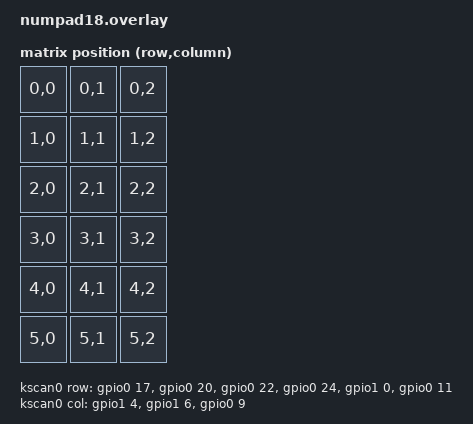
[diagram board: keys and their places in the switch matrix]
#include <dt-bindings/zmk/matrix_transform.h>
#include "numpad18-layouts.dtsi"

/ {
    chosen {
        zmk,kscan = &kscan0;
        zmk,physical-layout = <&numpad18_layout>;
        zmk,studio-rpc-uart = <&cdc_acm_uart0>;
    };

    default_transform: keymap_transform_0 {
        compatible = "zmk,matrix-transform";
        columns = <3>;
        rows = <6>;

        map = <
            RC(0,0) RC(0,1) RC(0,2)
            RC(1,0) RC(1,1) RC(1,2)
            RC(2,0) RC(2,1) RC(2,2)
            RC(3,0) RC(3,1) RC(3,2)
            RC(4,0) RC(4,1) RC(4,2)
            RC(5,0) RC(5,1) RC(5,2)
        >;
    };

    kscan0: kscan {
        compatible = "zmk,kscan-gpio-matrix";
        diode-direction = "col2row";
        wakeup-source;

        col-gpios
            = <&gpio1 4  GPIO_ACTIVE_HIGH>
            , <&gpio1 6  GPIO_ACTIVE_HIGH>
            , <&gpio0 9  GPIO_ACTIVE_HIGH>
            ;

        row-gpios
            = <&gpio0 17 (GPIO_ACTIVE_HIGH | GPIO_PULL_DOWN)>
            , <&gpio0 20 (GPIO_ACTIVE_HIGH | GPIO_PULL_DOWN)>
            , <&gpio0 22 (GPIO_ACTIVE_HIGH | GPIO_PULL_DOWN)>
            , <&gpio0 24 (GPIO_ACTIVE_HIGH | GPIO_PULL_DOWN)>
            , <&gpio1 0  (GPIO_ACTIVE_HIGH | GPIO_PULL_DOWN)>
            , <&gpio0 11 (GPIO_ACTIVE_HIGH | GPIO_PULL_DOWN)>
            ;
    };
};

&usbd {
    cdc_acm_uart0: cdc_acm_uart0 {
        compatible = "zephyr,cdc-acm-uart";
    };
};
